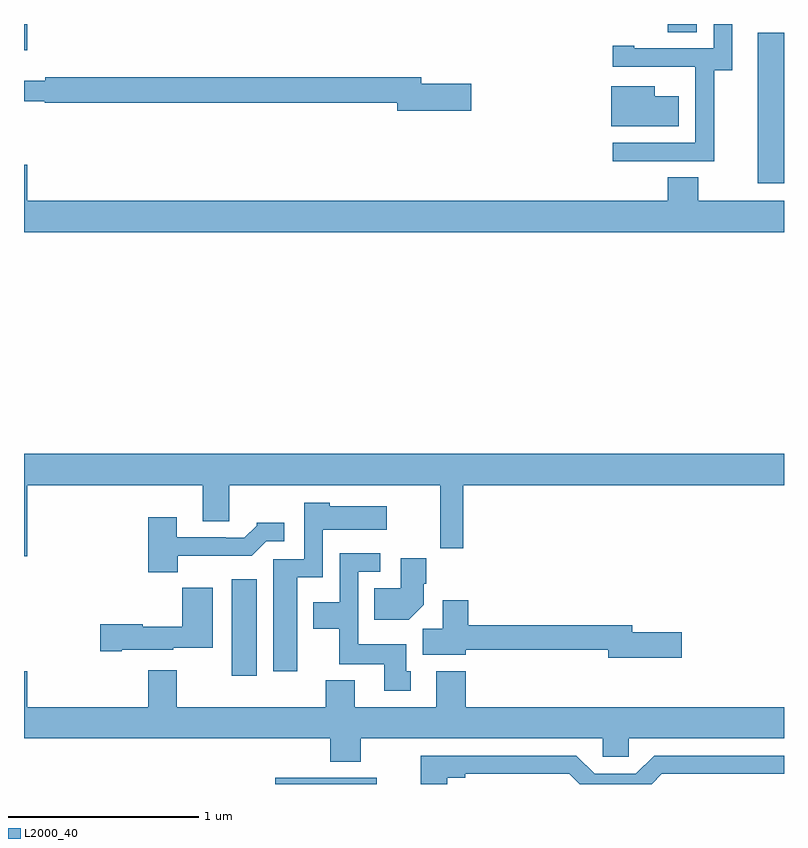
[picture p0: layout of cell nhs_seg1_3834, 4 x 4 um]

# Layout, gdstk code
import gdstk
lib = gdstk.Library(unit=1e-6, precision=1e-09)
def R(c, l, rs):  # rectangles x0, y0, x1, y1
    for r in rs: c.add(gdstk.rectangle(r[:2], r[2:], *l))
def P(c, l, *ps):  # polygons
    for p in ps: c.add(gdstk.Polygon(p, *l))
L2000_40 = (2000, 40)

nhs_seg1_3834 = lib.new_cell('nhs_seg1_3834')
R(nhs_seg1_3834, L2000_40, [(322.323,510.199,322.857,510.231), (322.094,510.768,322.225,511.276), (324.863,513.36,325,514.153), (321,514.062,321.016,514.199), (324.389,514.156,324.541,514.199)])
P(nhs_seg1_3834, L2000_40, [(324.633,513.955),(324.727,513.955),(324.727,514.199),(324.63,514.199),(324.63,514.071),(324.211,514.071),(324.211,514.084),(324.099,514.084),(324.099,513.975),(324.533,513.975),(324.533,513.974),(324.534,513.974),(324.534,513.573),(324.099,513.573),(324.099,513.477),(324.633,513.477)],
  [(323.353,513.884),(323.092,513.884),(323.092,513.92),(321.112,513.92),(321.112,513.901),(321,513.901),(321,513.792),(321.11,513.792),(321.11,513.784),(322.964,513.784),(322.964,513.742),(323.353,513.742)],
  [(324.445,513.82),(324.319,513.82),(324.319,513.871),(324.092,513.871),(324.092,513.662),(324.445,513.662)],
  [(325,513.268),(324.549,513.268),(324.549,513.392),(324.389,513.392),(324.389,513.268),(321.016,513.268),(321.016,513.457),(321,513.457),(321,513.104),(325,513.104)],
  [(321.016,511.772),(321.941,511.772),(321.941,511.582),(322.081,511.582),(322.081,511.772),(323.191,511.772),(323.191,511.44),(323.312,511.44),(323.312,511.772),(325,511.772),(325,511.936),(321,511.936),(321,511.398),(321.016,511.398)],
  [(322.438,511.286),(322.572,511.286),(322.572,511.538),(322.909,511.538),(322.909,511.66),(322.608,511.66),(322.608,511.678),(322.476,511.678),(322.476,511.383),(322.313,511.383),(322.313,510.792),(322.438,510.792)],
  [(321.808,511.4),(322.199,511.4),(322.275,511.476),(322.369,511.476),(322.369,511.573),(322.224,511.573),(322.224,511.558),(322.16,511.494),(322.061,511.494),(322.061,511.497),(321.805,511.497),(321.805,511.603),(321.653,511.603),(321.653,511.313),(321.808,511.313)],
  [(323.035,510.792),(323.011,510.792),(323.011,510.934),(322.758,510.934),(322.758,511.317),(322.876,511.317),(322.876,511.413),(322.662,511.413),(322.662,511.156),(322.523,511.156),(322.523,511.016),(322.66,511.016),(322.66,510.83),(322.895,510.83),(322.895,510.69),(323.035,510.69)],
  [(323.104,511.142),(323.104,511.252),(323.117,511.252),(323.117,511.387),(322.982,511.387),(322.982,511.228),(322.843,511.228),(322.843,511.064),(323.026,511.064)],
  [(321.514,510.905),(321.786,510.905),(321.786,510.917),(321.994,510.917),(321.994,511.231),(321.832,511.231),(321.832,511.027),(321.624,511.027),(321.624,511.04),(321.402,511.04),(321.402,510.898),(321.514,510.898)],
  [(324.463,510.998),(324.202,510.998),(324.202,511.034),(323.339,511.034),(323.339,511.165),(323.204,511.165),(323.204,511.016),(323.099,511.016),(323.099,510.878),(323.326,510.878),(323.326,510.906),(324.074,510.906),(324.074,510.863),(324.463,510.863)],
  [(322.773,510.44),(324.045,510.44),(324.045,510.342),(324.183,510.342),(324.183,510.44),(325,510.44),(325,510.604),(323.324,510.604),(323.324,510.793),(323.171,510.793),(323.171,510.604),(322.741,510.604),(322.741,510.745),(322.589,510.745),(322.589,510.604),(321.805,510.604),(321.805,510.799),(321.653,510.799),(321.653,510.604),(321.016,510.604),(321.016,510.793),(321,510.793),(321,510.44),(322.613,510.44),(322.613,510.316),(322.773,510.316)],
  [(323.227,510.232),(323.323,510.232),(323.323,510.252),(323.871,510.252),(323.924,510.199),(324.304,510.199),(324.357,510.252),(325,510.252),(325,510.348),(324.317,510.348),(324.221,510.252),(324.003,510.252),(323.907,510.348),(323.087,510.348),(323.087,510.199),(323.227,510.199)])

lib.write_gds('nhs_seg1_3834.gds')
